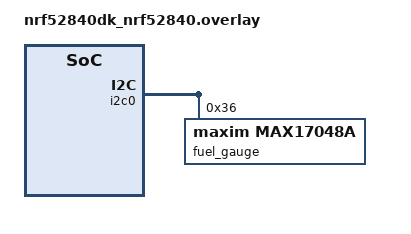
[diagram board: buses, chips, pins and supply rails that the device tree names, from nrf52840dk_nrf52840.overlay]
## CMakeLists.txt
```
cmake_minimum_required(VERSION 3.20.0)
find_package(Zephyr REQUIRED HINTS $ENV{ZEPHYR_BASE})

project(watch)

target_sources(app PRIVATE src/main.c)
```

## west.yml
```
manifest:
  self:
    path: application
  remotes:
    - name: nrf
      url-base: https://github.com/nrfconnect
  projects:
    - name: sdk-nrf
      remote: nrf
      path: nrf
      revision: v2.5.0
      import:
        path-prefix: external
      clone-depth: 1
    - name: DRV2605
      path: modules/DRV2605
      revision: refs/tags/barebones
      url: https://github.com/daxlar/drv2605
    - name: PCA9548
      path: modules/PCA9548
      revision: refs/tags/barebones
      url: https://github.com/daxlar/pca9548
    - name: ADXL343
      path: modules/ADXL343
      revision: refs/tags/barebones
      url: https://github.com/daxlar/adxl343
    - name: RV8803
      path: modules/RV8803
      revision: refs/tags/barebones
      url: https://github.com/daxlar/rv8803
    - name: MAX17048A
      path: modules/MAX17048A
      revision: refs/tags/barebones
      url: https://github.com/daxlar/max17048
```

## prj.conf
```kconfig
CONFIG_GPIO=y
CONFIG_I2C=y
CONFIG_SENSOR=y
CONFIG_ADXL343=y
CONFIG_DRV2605=y
CONFIG_PCA9548=y
CONFIG_RV8803=y
CONFIG_LOG=y
CONFIG_MAX17048A=y
# the following is for the rtc calibration
#CONFIG_NRFX_TIMER0=y
```

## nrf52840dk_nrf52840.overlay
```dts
// To get started, press Ctrl+Space to bring up the completion menu and view the available nodes.

// You can also use the buttons in the sidebar to perform actions on nodes.
// Actions currently available include:

// * Enabling / disabling the node
// * Adding the bus to a bus
// * Removing the node
// * Connecting ADC channels

// For more help, browse the DeviceTree documentation at https://docs.zephyrproject.org/latest/guides/dts/index.html
// You can also visit the nRF DeviceTree extension documentation at https://nrfconnect.github.io/vscode-nrf-connect/devicetree/nrfdevicetree.html

&i2c0 {
    /*
    drv2605: drv2605@5a{
        compatible = "i2c-device";
        reg = < 0x5a >;
        label = "haptic driver";
    };
    */
    /*
    haptic: haptic@5a{
        compatible = "ti,drv2605";
        reg = <0x5a>;
        motor_type = <0>;
        motor_frequency = <235>;
        motor_voltagerms = <0>;
        status = "okay";
    };

    i2cmux: i2cmux@70{
        compatible = "ti,pca9548";
        reg = <0x70>;
        status = "okay";
    };
    
    accel: accel@053{
        compatible = "adi,adxl343";
        reg = <0x53>;
        status = "okay";
    };
    
    rtclock: rtclock@32{
        compatible = "mc,rv8803";
        reg = <0x32>;
        status = "okay";
    };
    */

    fuel_gauge: fuel_gauge@36{
        compatible = "maxim,max17048a";
        reg = <0x36>;
        status = "okay";
    };
};

&wdt0 {
    status = "disabled";
};

/*
// for the rtc calibration
&timer0 {
    status = "okay";
};
*/
```

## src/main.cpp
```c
/*
 * Copyright (c) 2016 Intel Corporation
 *
 * SPDX-License-Identifier: Apache-2.0
 */

#include <zephyr/kernel.h>
#include <zephyr/drivers/gpio.h>
#include <zephyr/drivers/i2c.h>

/* 1000 msec = 1 sec */
#define SLEEP_TIME_MS   500

/* The devicetree node identifier for the "led0" alias. */
#define LED0_NODE DT_ALIAS(led0)

/*
 * A build error on this line means your board is unsupported.
 * See the sample documentation for information on how to fix this.
 */
static const struct gpio_dt_spec led = GPIO_DT_SPEC_GET(LED0_NODE, gpios);


#define DRV2605_NODE DT_NODELABEL(drv2605)
static const struct i2c_dt_spec drv2605_device = I2C_DT_SPEC_GET(DRV2605_NODE);

/**
 * DRV2605 LRA Driver
 * 
 * Questions
 * 1). What other setups exist besides closed-loop bidirectional mode?
 * 
 * Factors
 * 1). Consider the power supply needed to power these motors!
 * 
 * Initialization 
 * 1). ERM_LRA bit in register 0x1A set to LRA
 * 2). Do I need to perform calibration ?
 * 3). STARTUP_BOOST to reduce start-time performance
 * 4). BRAKE_FACTOR to reduce break-time performance, but aggressive ratios reduce stability
 * 5). BRAKE_STABILIZER to improve stability issues at high ratios
 * 6). LOOP_GAIN to control the speed to match back-emf of motor
 * 7). Set MODE in register 0x01 to select interface mode ( use the internal memory! )
 * 	7a). interfaces include pwm, internal memory, rtp, analog input
 * 8). MAKE SURE REG PIN IS NOT SHORTED!
 * 
 * 
 * Operation
 * 1). Check failure detection register
 * 2). Make sure that the automatic level-calibration routine doesn't fail
 * 	2a). Check out the automatic-level calibration programming section
 * 3). Ensure that the actuator is present with DIAG_RESULT
 * 4). When using the internal memory interface, observe the input trigger options
 * 	4a). Use the GO bit of register 0x0C to launch/stop the waveform
 * 	4b). You can send GO command over I2C, or use the IN/TRIG pins to send GO with lower latency
 * 	4c). IN/TRIG pin can operate on edge/level trigger
 * 5). Check OVER_TEMP to make sure that the device is not overheating!
 * 6). Check OC_DETECT to ensure there isn't a short at the output
 * 7). Shutdown state is lowest power mode and registers are not reset
 * 	7a). A good strategy may be to maximize time in shutdown
 * 	7b). In order to play a waveform while at shutdown, have to go into standby, then into active
 * 8). If there is a short before waveform is played, must observe and perform cycling in Figure 16!
*/

// DRV2605 registers
uint8_t STATUS_REG = 0x00;
uint8_t MODE_REG = 0x01;
uint8_t LIBRARY_REG = 0x03;
uint8_t WAVEFORM_SEQ1_REG = 0x04;
uint8_t GO_REG = 0x0C;
uint8_t RATED_VOLTAGE_REG = 0x16;
uint8_t OVERDRIVE_CLAMP_VOLTAGE_REG = 0x17;
uint8_t FEEDBACK_CONTROL_REG = 0x1A;
uint8_t CONTROL1_REG = 0x1B;
uint8_t CONTROL2_REG = 0x1C;
uint8_t CONTROL4_REG = 0x1E;


bool DRV2605_Init() {

	// i2c operation result
	uint8_t i2c_operation_error = 0;
	
	// take the device out of standby mode
	i2c_operation_error = i2c_reg_write_byte_dt(&drv2605_device, MODE_REG, 0x00);
	if(i2c_operation_error) {
		printk("failure before starting auto calibration");
	}

	/**
	 * Perform auto-calibration
	 * Steps: 
	 * 0). Write 0x07 to register 0x01
	 * 1). Set ERM_LRA bit of reg 0x1A
	 * 2). Set FB_BRAKE_FACTOR bit field of reg 0x1A
	 * 3). Set LOOP_GAIN bit field of reg 0x1A 
	 * 	1-3). Value is 0b10101010
	 * 4). Set RATED_VOLTAGE bit field of reg 0x16
	 * 	4a). LRA used is the VG0832022D lra from Digikey
	 * 	4b). Voltage of 1.8VAC RMS, frequency of 235Hz
	 * 	4c). formula is Vrms = (20.71*10^-3 * RATED_VOLTAGE)/sqrt(1-(4*SAMPLE_TIME + 300 * 10^-6) * fLRA))
	 * 	4d). SAMPLE_TIME is recommended to be 300uS
	 * 	4e). RATED_VOLTAGE is 83.7524... which is 0x53
	 * 5). Set OD_CLAMP bit field of reg 0x17
	 * 	5a). Vclamp = 21.96 * 10^-3 * OD_CLAMP
	 * 	5b). 1.8 = 21.96 * 10^-3 * OD_CLAMP
	 * 	5c). OD_CLAMP = 81.967 = 0x52
	 * 6). Set AUTO_CAL_TIME bit field of reg 0x1E
	 * 	6a). 0b00110000
	 * 7). Set DRIVE_TIME bit field of reg 0x1B
	 * 	7a). drive time(ms) = 0.5 * LRA Period (0.00426s for 235 Hz) = 2.13ms
	 * 	7b). 2.13ms = DRIVE_TIME * 0.1 + 0.5ms, so DRIVE_TIME = 16
	 * 	7c). 0b10010000
	 * 8). Set SAMPLE_TIME bit field of 0x1C
	 * 9). Set BLANKING_TIME bit field of 0x1C
	 * 10). Set IDISS_TIME bit field of 0x1C
	 * 	8-10). 0b11110101 
	 * 11). Set GO bit by writing 0x01 to register 0x0C - wait for GO bit to clear
	 * 12). Check status of DIAG_RESULT of regiester 0x00 to ensure that calibration is complete without faults
	*/

	// step 0: put device in auto-calibration mode
	i2c_operation_error = i2c_reg_write_byte_dt(&drv2605_device, MODE_REG, 0x07);
	if(i2c_operation_error) {
		printk("failure at step 0 of auto calibration");
		return false;
	}

	// step 1-3: write to FEEDBACK_CONTROL_REG
	i2c_operation_error = i2c_reg_write_byte_dt(&drv2605_device, FEEDBACK_CONTROL_REG, 0b10101010);
	if(i2c_operation_error) {
		printk("failure at step 1-3 of auto calibration");
		return false;
	}

	// step 4: write to RATED_VOLTAGE_REG
	i2c_operation_error = i2c_reg_write_byte_dt(&drv2605_device, RATED_VOLTAGE_REG, 0x53);
	if(i2c_operation_error) {
		printk("failure at step 4 of auto calibration");
		return false;
	}

	// step 5: write to OVERDRIVE_CLAMP_VOLTAGE_REG
	i2c_operation_error = i2c_reg_write_byte_dt(&drv2605_device, OVERDRIVE_CLAMP_VOLTAGE_REG, 0x52);
	if(i2c_operation_error) {
		printk("failure at step 5 of auto calibration");
		return false;
	}

	// step 6: set AUTOCAL_TIME by writing to CONTROL4_REG
	i2c_operation_error = i2c_reg_write_byte_dt(&drv2605_device, CONTROL4_REG, 0b00110000);
	if(i2c_operation_error) {
		printk("failure at step 6 of auto calibration");
		return false;
	}

	// step 7: set DRIVE_TIME by writing to CONTROL1_REG
	i2c_operation_error = i2c_reg_write_byte_dt(&drv2605_device, CONTROL1_REG, 0b10010000);
	if(i2c_operation_error) {
		printk("failure at step 7 of auto calibration");
		return false;
	}

	// step 8-10: write to CONTROL2_REG
	i2c_operation_error = i2c_reg_write_byte_dt(&drv2605_device, CONTROL2_REG, 0b11110101);
	if(i2c_operation_error) {
		printk("failure at step 8-10 of auto calibration");
		return false;
	}

	// step 11: write to GO register to start auto-calibration and wait for bit to deassert
	i2c_operation_error = i2c_reg_write_byte_dt(&drv2605_device, GO_REG, 0x01);
	if(i2c_operation_error) {
		printk("failure at step 11 of auto calibration");
		return false;
	}

	uint8_t calibrating = 1;
	while(calibrating) {
		i2c_operation_error = i2c_reg_read_byte_dt(&drv2605_device, GO_REG, &calibrating);
		if(i2c_operation_error) {
			printk("failure at step 11 of auto calibration waiting for calibration to be finished");
			return false;
		}
	}

        printk("finished calibration \r\n");

	// step 12: check diag_result to make sure that the auto-calibration is finished correctly
	uint8_t autocalibration_result = 0;
	i2c_operation_error = i2c_reg_read_byte_dt(&drv2605_device, STATUS_REG, &autocalibration_result);
	if(i2c_operation_error) {
		printk("failure at step 12 of auto calibration");
		return false;
	}

	if(!(autocalibration_result & 0b00001000)) {
		printk("failure at step 12 of auto calibration - result did not converge");
		return false;
	}

        printk("autocalibration results look good \r\n");

	// select LRA waveform library
	i2c_operation_error = i2c_reg_write_byte_dt(&drv2605_device, LIBRARY_REG, 0b00000110);
	if(i2c_operation_error) {
		printk("failure at auto calibration waveform library selection");
		return false;
	}
		
	// put device is standby mode
	i2c_operation_error = i2c_reg_write_byte_dt(&drv2605_device, MODE_REG, 0b01000000);
	if(i2c_operation_error) {
		printk("failure at auto calibration waveform library selection");
		return false;
	}

	return true;
}

bool DRV2605_EmitWaveform(uint8_t waveform_index) {

	// check if waveform_index is within range
	if(waveform_index > 123) {
		return false;
	}

	// i2c operation error
	uint8_t i2c_operation_error = 0;

	// Deassert Standby and set to internal trigger
	i2c_operation_error = i2c_reg_write_byte_dt(&drv2605_device, MODE_REG, 0b00000000);
	if(i2c_operation_error) {
		printk("failure at EmitWaveform deasserting standby");
		return false;
	}
	
	// Select waveform index to be played and write it address 0x04
	i2c_operation_error = i2c_reg_write_byte_dt(&drv2605_device, WAVEFORM_SEQ1_REG, waveform_index);
	if(i2c_operation_error) {
		printk("failure at EmitWaveform selecting waveform");
		return false;
	}
	
	// Set Go bit to to fire the effect
	i2c_operation_error = i2c_reg_write_byte_dt(&drv2605_device, GO_REG, 0b00000001);
	if(i2c_operation_error) {
		printk("failure at EmitWaveform starting effect");
		return false;
	}

	uint8_t firing = 1;
	while(firing) {
		i2c_operation_error = i2c_reg_read_byte_dt(&drv2605_device, GO_REG, &firing);
		if(i2c_operation_error) {
			printk("failure at step EmitWaveform firing sequence");
			return false;
		}
	}

	// check for output shorts and over_temp here
	uint8_t physical_error = 0;
	i2c_operation_error = i2c_reg_read_byte_dt(&drv2605_device, STATUS_REG, &physical_error);
	if(i2c_operation_error) {
		printk("failure at step EmitWaveform reading physical errors");
		return false;
	}

	if((physical_error & 0b00000011)) {
		printk("failure at step EmitWaveform with physical errors");
		return false;
	}

	// Put device in low power mode by setting the STANDBY bit
	i2c_operation_error = i2c_reg_write_byte_dt(&drv2605_device, MODE_REG, 0b01000000);
	if(i2c_operation_error) {
		printk("failure at EmitWaveform going back to standby");
		return false;
	}
	
	return true;
}

int main(void)
{

	if (!device_is_ready(led.port)) {
                printk("failure at initializing led device\r\n");
		return 1;
	}


	if (!device_is_ready(drv2605_device.bus)) {
                printk("failure at initializing i2c device\r\n");
	        return 1;
	}

	int ret = gpio_pin_configure_dt(&led, GPIO_OUTPUT_ACTIVE);
	if (ret < 0) {
                printk("failure at configuring gpio device\r\n");
		return 1;
	}

        printk("starting haptics initialization \r\n");

	bool init_haptics = DRV2605_Init();
	if(!init_haptics) {
		printk("trouble initializing haptics driver\r\n");
                return 1;
	}
        
        uint8_t index = 1;
	while (1) {
		ret = gpio_pin_toggle_dt(&led);
		if (ret < 0) {
                        printk("failure at toggling led device\r\n");
			return 1;
		}
		
		bool trigger_haptics = DRV2605_EmitWaveform(index);
		if(!trigger_haptics) {
			printk("trouble trigger haptics driver");
		} else {
			index = (index + 1) % 124;
			printk("beeping at index %d \r\n", index);
		}

		k_msleep(SLEEP_TIME_MS);
	}

        return 0;
}
```
